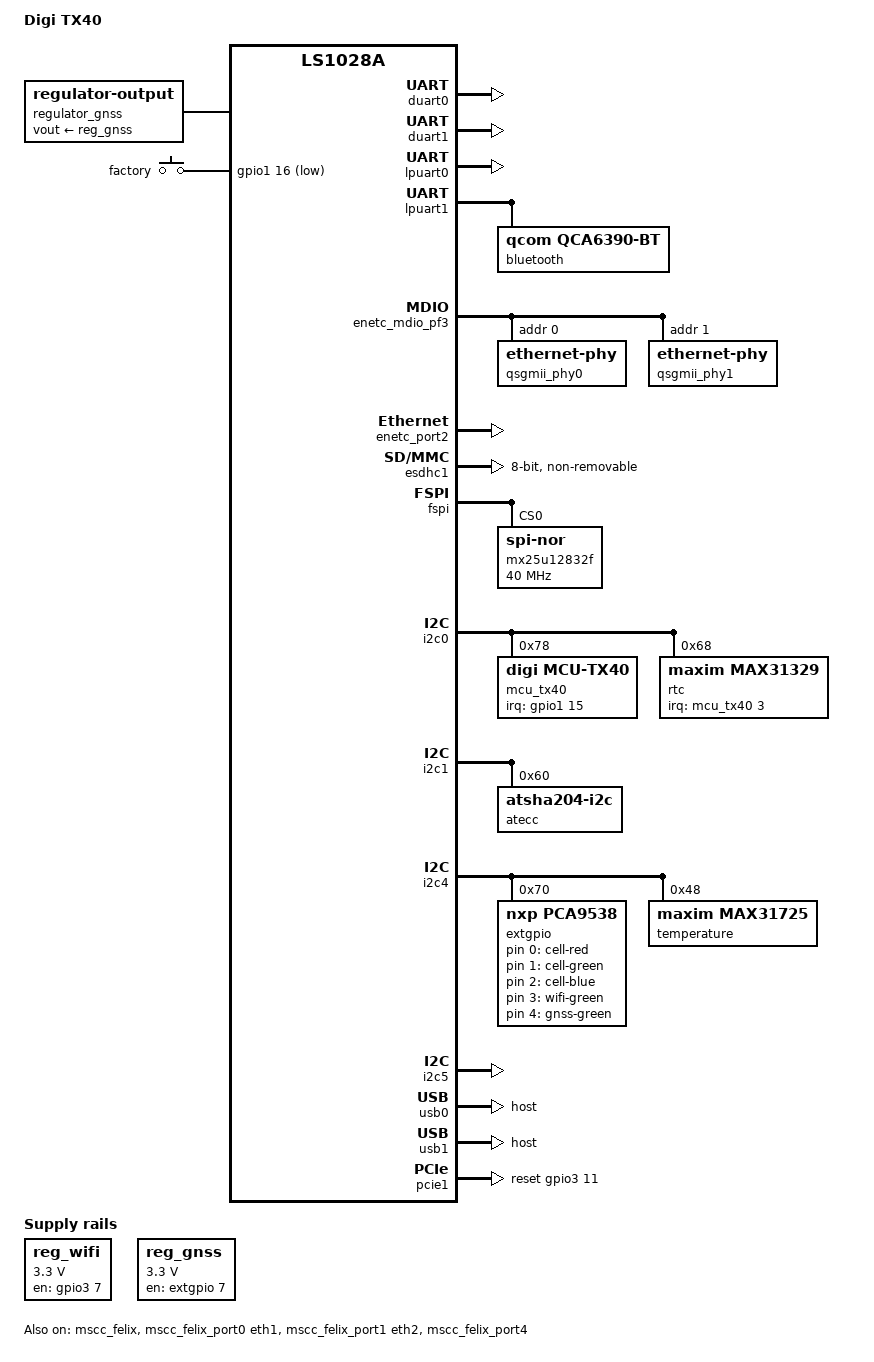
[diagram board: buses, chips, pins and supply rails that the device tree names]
// SPDX-License-Identifier: (GPL-2.0+ OR MIT)
/*
 * Device Tree file for Digi TX40.
 *
 * Copyright 2018-2021 NXP
 * Copyright 2022 Digi Inc.
 *
 * Harninder Rai <harninder.rai@nxp.com>
 * Robert Hodaszi <robert.hodaszi@digi.com>
 *
 */

/dts-v1/;
#include "fsl-ls1028a.dtsi"
#include <dt-bindings/gpio/gpio.h>
#include <dt-bindings/input/input.h>

/ {
	model = "Digi TX40";
	compatible = "digi,tx40", "fsl,ls1028a";

	aliases {
		crypto = &crypto;
		serial0 = &duart0;
		serial1 = &duart1;
		serial2 = &lpuart0;
		serial3 = &lpuart1;
		mmc0 = &esdhc1;
		spi0 = &fspi;
		ethernet0 = &enetc_port2;
		ethernet1 = &mscc_felix_port0;
		ethernet2 = &mscc_felix_port1;
		watchdog0 = &mcu_wdt;
		watchdog1 = &cluster1_core0_watchdog;
		watchdog2 = &cluster1_core1_watchdog;
	};

	chosen {
		stdout-path = "serial0:115200n8";
	};

	memory@80000000 {
		device_type = "memory";
		reg = <0x0 0x80000000 0x0 0x0000000>;
	};

	reg_wifi: regulator-wifi {
		compatible = "regulator-fixed";
		regulator-name = "wifi-3p3v";
		regulator-min-microvolt = <3300000>;
		regulator-max-microvolt = <3300000>;
		regulator-always-on;
		regulator-boot-on;
		gpio = <&gpio3 7 GPIO_ACTIVE_HIGH>;
		enable-active-high;
	};

	reg_gnss: regulator-gnss {
		compatible = "regulator-fixed";
		regulator-name = "gnss-3p3v";
		regulator-min-microvolt = <3300000>;
		regulator-max-microvolt = <3300000>;
		gpio = <&extgpio 7 GPIO_ACTIVE_HIGH>;
		enable-active-high;
	};

	regulator_gnss {
		compatible = "regulator-output";
		vout-supply = <&reg_gnss>;
	};
};

&soc {
	gpio-keys {
		compatible = "gpio-keys";
		factory-button {
			label = "factory";
			linux,code = <KEY_DELETE>;
			gpios = <&gpio1 16 GPIO_ACTIVE_LOW>;
		};
	};
};

&soc {
	leds {
		compatible = "gpio-leds";

		extgpio@0 {
			label = "cell-red";
			gpios = <&extgpio 0 GPIO_ACTIVE_HIGH>;
			linux,default-trigger = "none";
			default-state = "off";
		};

		extgpio@1 {
			label = "cell-green";
			gpios = <&extgpio 1 GPIO_ACTIVE_HIGH>;
			linux,default-trigger = "none";
			default-state = "off";
		};

		extgpio@2 {
			label = "cell-blue";
			gpios = <&extgpio 2 GPIO_ACTIVE_HIGH>;
			linux,default-trigger = "none";
			default-state = "off";
		};

		extgpio@3 {
			label = "wifi-green";
			gpios = <&extgpio 3 GPIO_ACTIVE_HIGH>;
			linux,default-trigger = "none";
			default-state = "off";
		};

		extgpio@4 {
			label = "gnss-green";
			gpios = <&extgpio 4 GPIO_ACTIVE_HIGH>;
			linux,default-trigger = "none";
			default-state = "off";
		};
	};
};

&gpu {
	status = "disabled";
};

&duart0 {
	status = "okay";
};

&duart1 {
	status = "okay";
};

&lpuart0 {
	status = "okay";
	dtr-gpios = <&gpio3 13 GPIO_ACTIVE_LOW>;
	dsr-gpios = <&gpio3 14 GPIO_ACTIVE_LOW>;
	dcd-gpios = <&gpio3 15 GPIO_ACTIVE_LOW>;
	rng-gpios = <&gpio3 16 GPIO_ACTIVE_LOW>;
	uart-has-rtscts;
};

&lpuart1 {
	status = "okay";

	bluetooth {
		compatible = "qcom,qca6390-bt";
	};
};

&enetc_mdio_pf3 {
	/* VSC8514 QSGMII quad PHY */
	qsgmii_phy0: ethernet-phy@0 {
		reg = <0x00>;
		vsc8531,led-0-inverted;
		vsc8531,led-1-inverted;
	};

	qsgmii_phy1: ethernet-phy@1 {
		reg = <0x01>;
		vsc8531,led-0-inverted;
		vsc8531,led-1-inverted;
	};
};

&enetc_port2 {
	status = "okay";
};

&esdhc1 {
	mmc-hs200-1_8v;
	mmc-hs400-1_8v;
	non-removable;
	bus-width = <8>;
	status = "okay";
	sdhci,no-led;
};

&fspi {
	status = "okay";

	mx25u12832f: flash@0 {
		compatible = "jedec,spi-nor";
		#address-cells = <1>;
		#size-cells = <1>;
		spi-max-frequency = <40000000>;
		/* The following setting enables 1-1-4 (CMD-ADDR-DATA) mode */
		spi-rx-bus-width = <4>; /* 4 SPI Rx lines */
		spi-tx-bus-width = <1>; /* 1 SPI Tx line */
		reg = <0>;
	};
};

&i2c0 {
	status = "okay";

	mcu_tx40: mcu@78 {
		compatible = "digi,mcu-tx40";
		reg = <0x78>;
		interrupt-parent = <&gpio1>;
		interrupts = <15 IRQ_TYPE_EDGE_FALLING>;
		interrupt-controller;
		#interrupt-cells = <1>;

		poweroff {
			compatible = "digi,mcu-tx40-poweroff";
		};

		battery {
			compatible = "digi,mcu-tx40-battery";
		};

		keys {
			compatible = "digi,mcu-tx40-keys";
		};

		mcu_pwr_led: mcu_led {
			compatible = "digi,mcu-tx40-led";
			label = "power";
			linux,default-trigger = "timer";
		};

		mcu_wdt: mcu_wdt {
			compatible = "digi,mcu-tx40-wdt";
			gpio = <&gpio1 21 GPIO_ACTIVE_HIGH>;
		};
	};

	rtc: max31329@68 {
		compatible = "maxim,max31329";
		reg = <0x68>;
		trickle-resistor-ohms = <3000>;
		interrupt-parent = <&mcu_tx40>;
		interrupts = <3>;
	};

	/*accelerometer: lis2de12@18 {
		compatible = "st,lis2de12";
		reg = <0x18>;
		interrupt-parent = <0x0c>;
		interrupts = <0x04>;
	};*/
};

&i2c1 {
	status = "okay";

	atecc: atecc508a@60 {
		compatible = "atsha204-i2c";
		reg = <0x60>;
	};
};

&i2c4 {
	status = "okay";

	extgpio: pca9538@70 {
		#gpio-cells = <2>;
		compatible = "nxp,pca9538";
		reg = <0x70>;
		pinctrl-names = "default";
		gpio-controller;
	};

	temperature: max31725@48 {
		compatible = "maxim,max31725";
		reg = <0x48>;
	};
};

&i2c5 {
	status = "okay";
};

&mscc_felix {
	status = "okay";
};

&mscc_felix_port0 {
	label = "eth1";
	managed = "in-band-status";
	phy-handle = <&qsgmii_phy0>;
	phy-mode = "qsgmii";
	status = "okay";
};

&mscc_felix_port1 {
	label = "eth2";
	managed = "in-band-status";
	phy-handle = <&qsgmii_phy1>;
	phy-mode = "qsgmii";
	status = "okay";
};

&mscc_felix_port4 {
	ethernet = <&enetc_port2>;
	status = "okay";
};

&usb0 {
	status = "okay";
	dr_mode = "host";
};

&usb1 {
	status = "okay";
	dr_mode = "host";
};

&pcie1 {
	status = "okay";
	reset-gpios = <&gpio3 11 GPIO_ACTIVE_HIGH>;
};

&gpio1 {
	gpio-line-names = "", "", "", "", "", "", "", "",
			  "", "", "", "", "", "", "", "",
			  "factory", "", "", "", "", "", "", "",
			  "", "", "", "", "", "", "", "";
};
